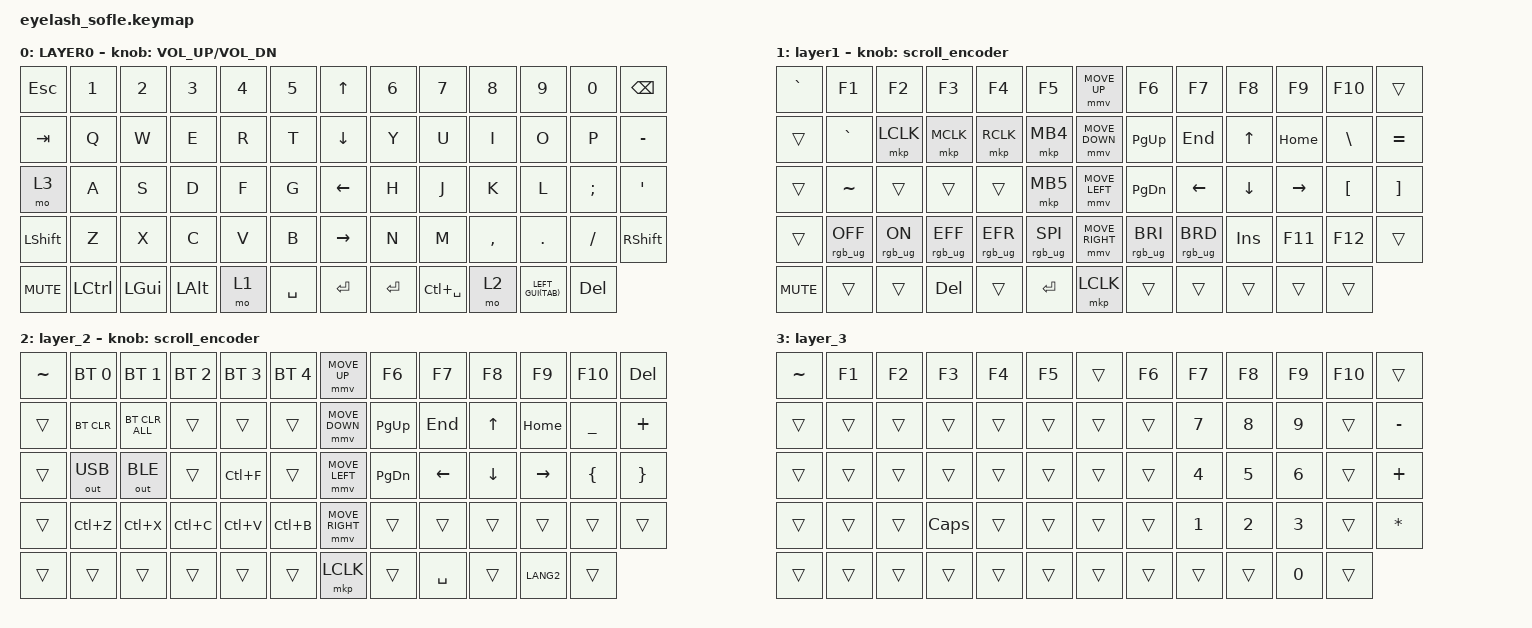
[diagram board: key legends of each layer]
#define ZMK_POINTING_DEFAULT_MOVE_VAL 1200  // 600
#define ZMK_POINTING_DEFAULT_SCRL_VAL 35    // 10

#include <input/processors.dtsi>
#include <zephyr/dt-bindings/input/input-event-codes.h>
#include <behaviors.dtsi>
#include <dt-bindings/zmk/bt.h>
#include <dt-bindings/zmk/keys.h>
#include <dt-bindings/zmk/outputs.h>
#include <dt-bindings/zmk/pointing.h>
#include <dt-bindings/zmk/rgb.h>

/ {
    zip_scroll_scaler: zip_scroll_scaler {
        compatible = "zmk,input-processor-scaler";
        #input-processor-cells = <2>;
        type = <INPUT_EV_REL>;
        codes = <INPUT_REL_WHEEL INPUT_REL_HWHEEL>;
        track-remainders;
    };
};

&mmv_input_listener { input-processors = <&zip_xy_scaler 2 1>; };

&msc_input_listener { input-processors = <&zip_scroll_scaler 2 1>; };

&msc {
    acceleration-exponent = <0>;      // 0
    time-to-max-speed-ms = <0>;       // 300
    delay-ms = <0>;                   // 0
};

&mmv {
    time-to-max-speed-ms = <400>;
    acceleration-exponent = <1>;
};

/ {
    scroll_encoder: scroll_encoder {
        compatible = "zmk,behavior-sensor-rotate";
        #sensor-binding-cells = <0>;
        bindings = <&msc SCRL_DOWN>, <&msc SCRL_UP>;

        tap-ms = <30>;
    };

    macros {
        shift_MB3: shift_MB3 {
            compatible = "zmk,behavior-macro";
            #binding-cells = <0>;
            bindings =
                <&macro_press>,
                <&kp LEFT_SHIFT>,
                <&macro_press>,
                <&mkp MB3>,
                <&macro_pause_for_release>,
                <&macro_release>,
                <&mkp MB3 &kp LEFT_SHIFT>;

            label = "SHIFT_MB3";
        };
    };

    behaviors {
    };

    keymap {
        compatible = "zmk,keymap";

        layer0 {
            bindings = <
                &kp ESC         &kp N1    &kp N2       &kp N3       &kp N4   &kp N5     &kp UP_ARROW     &kp N6     &kp N7          &kp N8     &kp N9             &kp N0       &kp BACKSPACE
                &kp TAB         &kp Q     &kp W        &kp E        &kp R    &kp T      &kp DOWN_ARROW   &kp Y      &kp U           &kp I      &kp O              &kp P        &kp MINUS
                &mo 3           &kp A     &kp S        &kp D        &kp F    &kp G      &kp LEFT_ARROW   &kp H      &kp J           &kp K      &kp L              &kp SEMI     &kp APOS
                &kp LSHFT       &kp Z     &kp X        &kp C        &kp V    &kp B      &kp RIGHT_ARROW  &kp N      &kp M           &kp COMMA  &kp DOT            &kp FSLH     &kp RSHIFT
                &kp C_MUTE      &kp LCTRL &kp LEFT_GUI &kp LEFT_ALT &mo 1    &kp SPACE  &kp ENTER        &kp ENTER  &kp LC(SPACE)   &mo 2      &kp LEFT_GUI(TAB)  &kp DELETE
            >;
            sensor-bindings = <&inc_dec_kp C_VOLUME_UP C_VOL_DN>;
            display-name = "LAYER0";
        };

        layer_1 {
            bindings = <
                &kp GRAVE  &kp F1          &kp F2         &kp F3          &kp F4          &kp F5          &mmv MOVE_UP    &kp F6          &kp F7          &kp F8     &kp F9     &kp F10          &trans
                &trans     &kp GRAVE       &mkp LCLK      &mkp MCLK       &mkp RCLK       &mkp MB4        &mmv MOVE_DOWN  &kp PG_UP       &kp END         &kp UP     &kp HOME   &kp BSLH         &kp EQUAL
                &trans     &kp TILDE       &trans         &trans          &trans          &mkp MB5        &mmv MOVE_LEFT  &kp PG_DN       &kp LEFT        &kp DOWN   &kp RIGHT  &kp LEFT_BRACKET &kp RIGHT_BRACKET
                &trans     &rgb_ug RGB_OFF &rgb_ug RGB_ON &rgb_ug RGB_EFF &rgb_ug RGB_EFR &rgb_ug RGB_SPI &mmv MOVE_RIGHT &rgb_ug RGB_BRI &rgb_ug RGB_BRD &kp INSERT &kp F11    &kp F12          &trans
                &kp C_MUTE &trans          &trans         &kp DELETE      &trans          &kp ENTER       &mkp LCLK       &trans          &trans          &trans     &trans     &trans
            >;
            display-name = "layer1";
            sensor-bindings = <&scroll_encoder>;
        };

        layer_2 {
            bindings = <
                &kp TILDE &bt BT_SEL 0   &bt BT_SEL 1     &bt BT_SEL 2   &bt BT_SEL 3   &bt BT_SEL 4   &mmv MOVE_UP     &kp F6      &kp F7     &kp F8     &kp F9     &kp F10     &kp DELETE
                &trans    &bt BT_CLR     &bt BT_CLR_ALL   &trans         &trans         &trans         &mmv MOVE_DOWN   &kp PG_UP   &kp END    &kp UP     &kp HOME   &kp UNDER   &kp PLUS
                &trans    &out OUT_USB   &out OUT_BLE     &trans         &kp LC(F)      &trans         &mmv MOVE_LEFT   &kp PG_DN   &kp LEFT   &kp DOWN   &kp RIGHT  &kp LBRC    &kp RBRC
                &trans    &kp LC(Z)      &kp LC(X)        &kp LC(C)      &kp LC(V)      &kp LC(B)      &mmv MOVE_RIGHT  &trans      &trans     &trans    &trans      &trans      &trans
                &trans    &trans         &trans           &trans         &trans         &trans         &mkp LCLK        &trans      &kp SPACE  &trans     &kp LANG2  &trans
            >;
            sensor-bindings = <&scroll_encoder>;
        };

        layer_3 {
            bindings = <
                &kp TILDE &kp F1   &kp F2   &kp F3   &kp F4   &kp F5   &trans &kp F6   &kp F7    &kp F8   &kp F9   &kp F10   &trans
                &trans    &trans   &trans   &trans   &trans   &trans   &trans &trans   &kp N7   &kp N8    &kp N9   &trans    &kp MINUS
                &trans    &trans   &trans   &trans   &trans   &trans   &trans &trans   &kp N4   &kp N5    &kp N6   &trans    &kp PLUS
                &trans    &trans   &trans   &kp CAPS &trans   &trans   &trans &trans   &kp N1   &kp N2    &kp N3   &trans    &kp ASTRK
                &trans    &trans   &trans   &trans   &trans   &trans   &trans &trans   &trans   &trans    &kp N0   &trans
            >;
        };
    };
};
